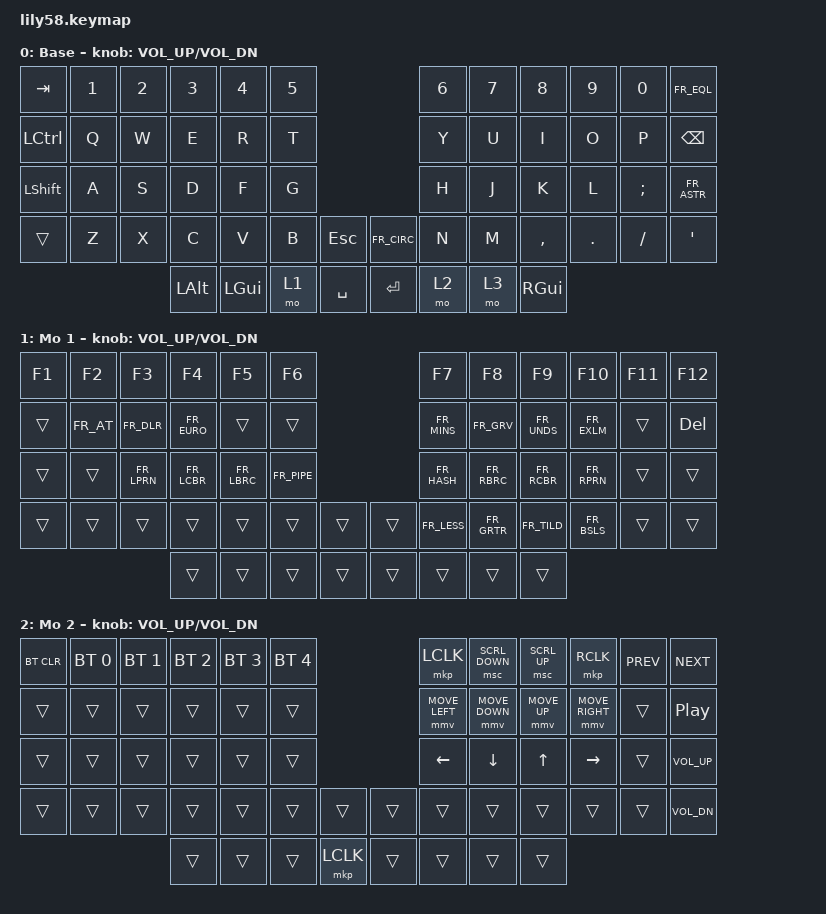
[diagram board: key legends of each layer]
    /*
 * Copyright (c) 2020 The ZMK Contributors
 *
 * SPDX-License-Identifier: MIT
 */

#include <behaviors.dtsi>
#include <dt-bindings/zmk/keys.h>
#include <dt-bindings/zmk/bt.h>

#define ZMK_POINTING_DEFAULT_MOVE_VAL 2200  // default: 600
#define ZMK_POINTING_DEFAULT_SCRL_VAL 20    // default: 10

#include <dt-bindings/zmk/pointing.h>
#include <dt-bindings/zmk/ext_power.h>

#include "french.h"

/ {
    keymap {
        compatible = "zmk,keymap";

        default_layer {
// ------------------------------------------------------------------------------------------------------------
// |  TAB  |  &  |  é  |  "   |  '   |  (   |                   |  è   |  _    |  ç   |   à   |   )   |   =   |  
// |  CTRL |  a  |  z  |  e   |  r   |  t   |                   |  y   |  u    |  i    |  o   |   o   | BSPC  |
// | SHIFT |  q  |  s  |  d   |  f   |  g   |                   |  h   |  j    |  k    |  l   |   ;   |   *   |
// |  FREE |  w  |  x  |  c   |  v   |  b   |   ESC  |  |       |  n   |  ,    |  ;    |  :   |   !   |   ù   |
//                     | ALT  | GUI  | MO 1 |  SPACE |  | ENTER | MO 2 | MO 3  | GUI   |
            display-name = "Base";
            bindings = <
&kp TAB   &kp N1 &kp N2 &kp N3   &kp N4   &kp N5                     &kp N6 &kp N7   &kp N8    &kp N9  &kp N0   &kp FR_EQL
&kp LCTRL &kp Q  &kp W  &kp E    &kp R    &kp T                      &kp Y  &kp U    &kp I     &kp O   &kp P    &kp BSPC
&kp LSHFT &kp A  &kp S  &kp D    &kp F    &kp G                      &kp H  &kp J    &kp K     &kp L   &kp SEMI &kp FR_ASTR
&trans    &kp Z  &kp X  &kp C    &kp V    &kp B  &kp ESC    &kp FR_CIRC  &kp N  &kp M    &kp COMMA &kp DOT &kp FSLH &kp SQT
                        &kp LALT &kp LGUI &mo 1  &kp SPACE  &kp RET  &mo 2  &mo 3 &kp RGUI
            >;

            sensor-bindings = <&inc_dec_kp C_VOL_UP C_VOL_DN>;
        };

        lower_layer {
// ------------------------------------------------------------------------------------------------------------
// |   F1  |  F2 |  F3 |  F4  |  F5  |  F6  |                   |  F7  |  F8   |   F9  |  F10 |  F11  |  F12  |
// |       |  @  | USD | EUR  |      |      |                   |  -   |  `    |   _   |  !   |       |  DEL  |
// |       |     |  (  |  {   |  [   |  |   |                   |  #   |   ]   |   }   |  )   |       |       |
// |       |     |     |      |      |      |        |  |       |  <   |   >   |   ~   |bkslsh|       |       |
//                     |      |      |      |        |  |       |      |       |       |
            display-name = "Mo 1";
            bindings = <
&kp F1    &kp F2 &kp F3 &kp F4  &kp F5  &kp F6                       &kp F7    &kp F8 &kp F9 &kp F10 &kp F11 &kp F12
&trans  &kp FR_AT &kp FR_DLR &kp FR_EURO &trans &trans              &kp FR_MINS &kp FR_GRV &kp FR_UNDS &kp FR_EXLM &trans &kp DEL
&trans  &trans  &kp FR_LPRN  &kp FR_LCBR &kp FR_LBRC  &kp FR_PIPE   &kp FR_HASH &kp FR_RBRC &kp FR_RCBR &kp FR_RPRN &trans &trans
&trans  &trans  &trans  &trans  &trans  &trans &trans              &trans &kp FR_LESS &kp FR_GRTR &kp FR_TILD &kp FR_BSLS &trans  &trans
                        &trans  &trans  &trans   &trans   &trans   &trans &trans &trans
            >;

            sensor-bindings = <&inc_dec_kp C_VOL_UP C_VOL_DN>;
        }; 

        raise_layer {
// ------------------------------------------------------------------------------------------------------------
// | BTCLR | BT1 | BT2 |  BT3 |  BT4 |  BT5 |                   |LCLICK|SCLDWN | SCLUP |RCLICK|SNDPREV|SNDNEXT|
// |       |     |     |      |      |      |                   |MLEFT | MDOWN |  MUP  |MRIGHT|       |PLAY/P |
// |       |     |     |      |      |      |                   |  <-  |   v   |   ^   |  ->  |       | VOLUP |
// |       |     |     |      |      |      |        |  |       |      |       |       |      |       |VOLDOWN|
//                     |      |      |      |MLCLICK |  |       |      |       |       |
            display-name = "Mo 2";
            bindings = <
&bt BT_CLR &bt BT_SEL 0 &bt BT_SEL 1 &bt BT_SEL 2 &bt BT_SEL 3 &bt BT_SEL 4                 &mkp LCLK &msc SCRL_DOWN &msc SCRL_UP &mkp RCLK &kp C_PREV &kp C_NEXT
&trans    &trans &trans &trans  &trans  &trans                       &mmv MOVE_LEFT &mmv MOVE_DOWN &mmv MOVE_UP &mmv MOVE_RIGHT  &trans   &kp C_PP
&trans    &trans &trans &trans  &trans  &trans                       &kp LEFT    &kp DOWN  &kp UP    &kp RIGHT  &trans    &kp C_VOL_UP
&trans    &trans &trans &trans  &trans  &trans    &trans   &trans    &trans &trans &trans &trans &trans &kp C_VOL_DN
                        &trans  &trans  &trans    &mkp LCLK   &trans    &trans      &trans    &trans
            >;

            sensor-bindings = <&inc_dec_kp C_VOL_UP C_VOL_DN>;
        };


        extra_1 {
            status = "reserved";
        };

        extra_2 {
            status = "reserved";
        };

        extra_3 {
            status = "reserved";
        };
    };
};
